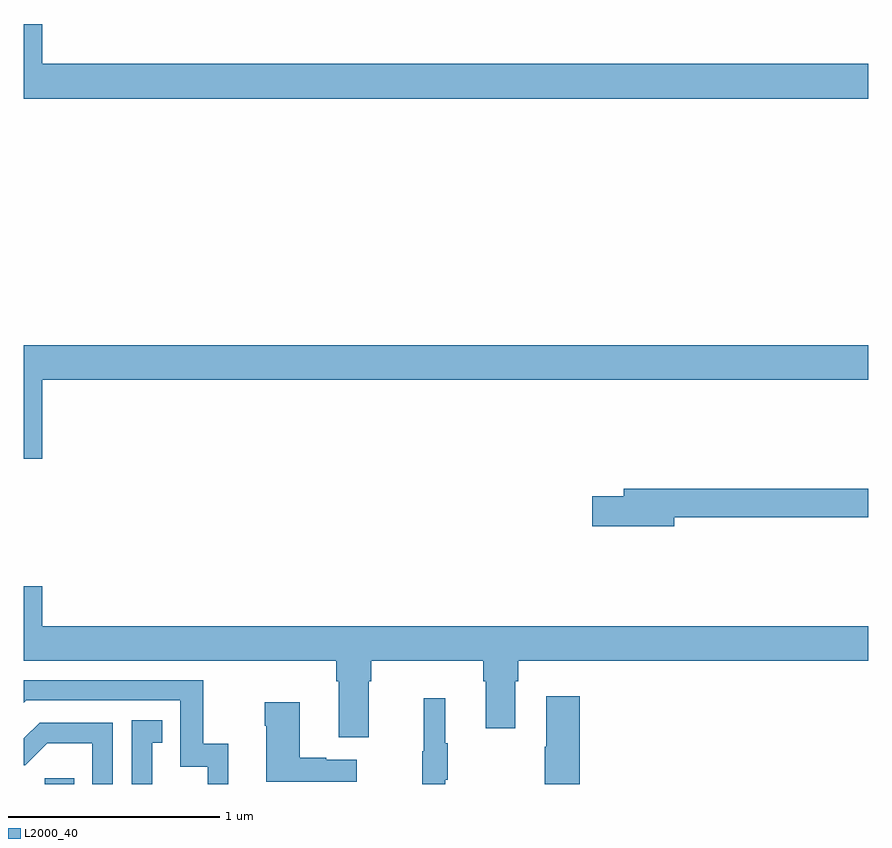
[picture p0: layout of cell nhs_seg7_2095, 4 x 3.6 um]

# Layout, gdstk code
import gdstk
lib = gdstk.Library(unit=1e-6, precision=1e-09)
def R(c, l, rs):  # rectangles x0, y0, x1, y1
    for r in rs: c.add(gdstk.rectangle(r[:2], r[2:], *l))
def P(c, l, *ps):  # polygons
    for p in ps: c.add(gdstk.Polygon(p, *l))
L2000_40 = (2000, 40)

nhs_seg7_2095 = lib.new_cell('nhs_seg7_2095')
R(nhs_seg7_2095, L2000_40, [(249.099,1032,249.239,1032.027)])
P(nhs_seg7_2095, L2000_40, [(253,1035.412),(249.088,1035.412),(249.088,1035.601),(249,1035.601),(249,1035.248),(253,1035.248)],
  [(249.088,1033.916),(253,1033.916),(253,1034.08),(249,1034.08),(249,1033.542),(249.088,1033.542)],
  [(252.082,1033.264),(253,1033.264),(253,1033.4),(251.843,1033.4),(251.843,1033.364),(251.694,1033.364),(251.694,1033.222),(252.082,1033.222)],
  [(249.088,1032.937),(249,1032.937),(249,1032.584),(250.481,1032.584),(250.481,1032.488),(250.493,1032.488),(250.493,1032.222),(250.633,1032.222),(250.633,1032.488),(250.646,1032.488),(250.646,1032.584),(251.177,1032.584),(251.177,1032.488),(251.189,1032.488),(251.189,1032.264),(251.329,1032.264),(251.329,1032.488),(251.342,1032.488),(251.342,1032.584),(253,1032.584),(253,1032.748),(249.088,1032.748)],
  [(249.968,1032.19),(249.85,1032.19),(249.85,1032.492),(249,1032.492),(249,1032.384),(249.012,1032.396),(249.741,1032.396),(249.741,1032.081),(249.87,1032.081),(249.87,1032),(249.968,1032)],
  [(251.633,1032.415),(251.474,1032.415),(251.474,1032.176),(251.467,1032.176),(251.467,1032),(251.633,1032)],
  [(250.997,1032.019),(251.008,1032.019),(251.008,1032.193),(250.997,1032.193),(250.997,1032.406),(250.894,1032.406),(250.894,1032.156),(250.887,1032.156),(250.887,1032),(250.997,1032)],
  [(250.576,1032.115),(250.433,1032.115),(250.433,1032.125),(250.306,1032.125),(250.306,1032.388),(250.141,1032.388),(250.141,1032.275),(250.148,1032.275),(250.148,1032.011),(250.576,1032.011)],
  [(249.607,1032.195),(249.656,1032.195),(249.656,1032.301),(249.51,1032.301),(249.51,1032),(249.607,1032)],
  [(249.42,1032.291),(249.074,1032.291),(249,1032.217),(249,1032.09),(249.006,1032.09),(249.11,1032.194),(249.324,1032.194),(249.324,1032),(249.42,1032)])

lib.write_gds('nhs_seg7_2095.gds')
